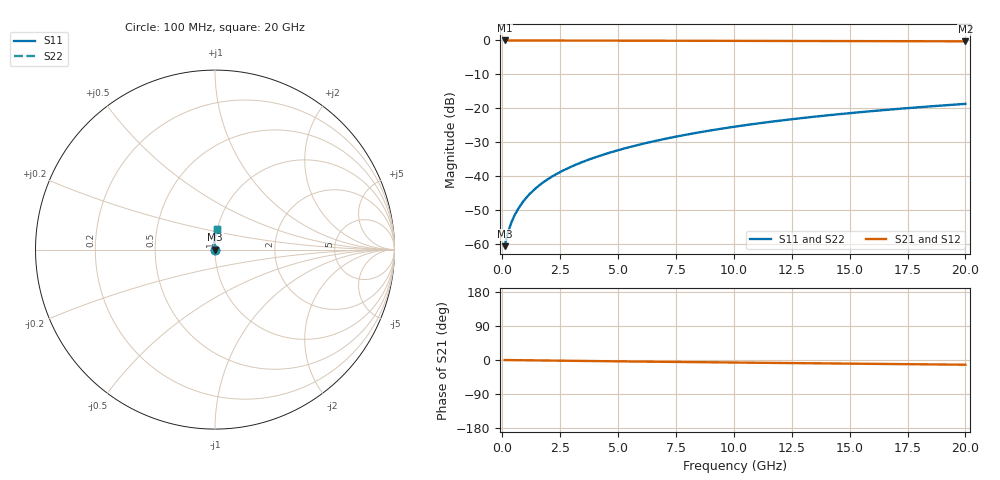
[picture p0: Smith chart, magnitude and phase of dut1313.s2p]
! Touchstone file exported from HFSS 2024.1.0
!  File:  C:/UserFiles/LocalFiles/RDL_TSV_Batchsim/temp_RDL_top_1313_1780364732.aedt
!  Generated:  09:47:55 AM Jun  2, 2026
!  Design:  RDL_top
!  Project:  temp_RDL_top_1313_1780364732
!  Setup:  Setup1
!  Solution:  Sweep
! Variables:
!  dtsv = 10.80580581um
!  hbump = 3um
!  htsv = 86.37um
!  ldown = 100um
!  lrdl = 170.08um
!  p = 40
!  p1 = 45.08um
!  rhole = 1um
!  t = 450um
!  tdown = 3.915915916um
!  trdl = 4.11um
!  wdown = 15.38538539um
!  wrdl = 25.97um
# GHz S MA R 50.000000
! Terminal data exported
! Port[1] = Box2_T1
! Port[2] = Box2_T2
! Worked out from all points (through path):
!   200 points, 100 MHz to 20 GHz, reference 50 ohm
!   highest |S21| = -0.01 dB at 100 MHz (marker M1); lowest = -0.3 dB at 20 GHz (marker M2)
!   group delay of S21, straight-line fit = 1.7 ps
!   lowest |S11| = -60.5 dB at 100 MHz (marker M3), VSWR 1.00, Z = 50.1 + j0.0532 ohm
!   |S11| at or under -10 dB: start of sweep to end of sweep
!   |S22| runs from -60.5 to -18.7 dB; largest |S21 - S12| = 2.1e-15
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0.1  0.0009389 34.4  0.9992 -0.1  0.9992 -0.1  0.0009389 34.4
! Gamma 0 0 0 0
! Port Impedance 50 0 50 0
0.2  0.001313 51.0  0.9992 -0.2  0.9992 -0.2  0.001313 51.0
0.3  0.001715 59.6  0.9991 -0.2  0.9991 -0.2  0.001715 59.6
0.4  0.002121 65.1  0.999 -0.3  0.999 -0.3  0.002121 65.1
0.5  0.002534 69.1  0.999 -0.4  0.999 -0.4  0.002534 69.1
0.6  0.002954 72.1  0.9989 -0.4  0.9989 -0.4  0.002954 72.1
0.8  0.003812 76.5  0.9988 -0.6  0.9988 -0.6  0.003812 76.5
1.1  0.00513 80.5  0.9987 -0.8  0.9987 -0.8  0.00513 80.5
1.3  0.006025 82.4  0.9986 -1.0  0.9986 -1.0  0.006025 82.4
1.6  0.007384 84.5  0.9983 -1.2  0.9983 -1.2  0.007384 84.5
2.1  0.009694 86.9  0.9979 -1.5  0.9979 -1.5  0.009694 86.9
2.7  0.01254 88.8  0.9972 -2.0  0.9972 -2.0  0.01254 88.8
3.5  0.01646 90.6  0.9961 -2.5  0.9961 -2.5  0.01646 90.6
4.2  0.02002 91.6  0.995 -3.0  0.995 -3.0  0.02002 91.6
5  0.02424 92.4  0.9936 -3.5  0.9936 -3.5  0.02424 92.4
6.8  0.0343 93.2  0.9904 -4.7  0.9904 -4.7  0.0343 93.2
8.4  0.04377 93.0  0.9874 -5.7  0.9874 -5.7  0.04377 93.0
10.1  0.0542 92.3  0.9845 -6.7  0.9845 -6.7  0.0542 92.3
11.7  0.06422 91.3  0.9819 -7.7  0.9819 -7.7  0.06422 91.3
13.4  0.07497 90.1  0.9792 -8.7  0.9792 -8.7  0.07497 90.1
16.7  0.09588 87.5  0.9745 -10.6  0.9745 -10.6  0.09588 87.5
20  0.1166 84.9  0.9701 -12.4  0.9701 -12.4  0.1166 84.9
